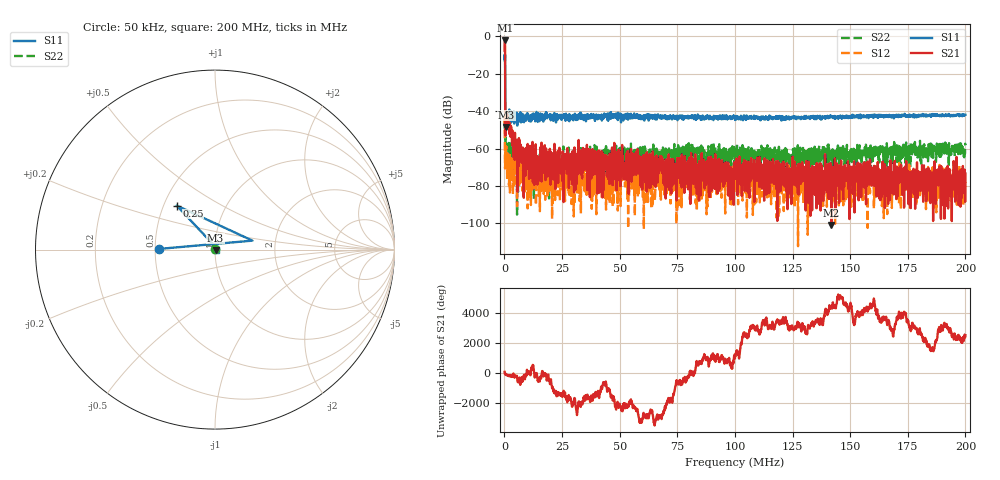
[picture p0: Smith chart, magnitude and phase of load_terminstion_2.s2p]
! 26-Feb-26 2:18:29 PM
! E:\VNA_MEASUREMENTS\HEATED_LOAD\LOAD_TERMINSTION_2.S2P
! CHANNEL.1
! TR.MEASUREMENT
! CORRECTED.DATA
# GHZ S RI R 50.0
! FREQ.GHZ  S11RE  S11IM  S21RE  S21IM  S12RE  S12IM  S22RE  S22IM
!; PortSelection: Port_12
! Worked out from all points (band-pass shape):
!   2000 points, 50 kHz to 200 MHz, reference 50 ohm
!   highest |S21| = -2.20 dB at 150 kHz (marker M1); lowest = -100.8 dB at 141.9 MHz (marker M2)
!   |S21| within 3 dB of the highest: 93.76 kHz to 254.5 kHz (160.7 kHz wide, 92.3 % of centre)
!   lowest |S11| = -48.5 dB at 850.2 kHz (marker M3), VSWR 1.01, Z = 50.3 - j0.219 ohm
!   |S11| at or under -10 dB: start of sweep to 243.5 kHz; 251 kHz to end of sweep
!   |S22| runs from -95.3 to -44.9 dB; largest |S21 - S12| = 0.78
!   S11 on the Smith chart (normalised r, x): 50 kHz: 0.53, +0.00; 250 kHz: 0.58, +0.32; 200 MHz: 1.02, +0.00
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5e-05  -0.3108 0.00381  0.1777 0.3804  0.00308 -0.00625  0.000413 0.00565
0.000150025  0.2086 0.05  0.1797 -0.7547  0.000281 0.00126  0.00304 0.000275
0.00025005  -0.2132 0.2453  0.667 -0.1669  -0.000106 0.000272  -0.000981 -0.00307
0.0008502  0.00308 -0.00217  -0.00485 -0.00346  0.000189 -0.000341  -0.000461 -0.00128
0.00145035  0.00364 -0.0026  -0.00509 -0.00275  -0.000115 -0.000135  -0.000445 0.00118
0.005451351  0.00784 -0.00109  0.000167 0.0017  2.79e-05 -5.7e-06  -7.6e-06 1.55e-05
0.0144536  0.00514 -0.000359  -0.000611 0.000104  0.000246 5.88e-05  -0.000174 -0.000111
0.01665415  0.00621 0.000747  0.000132 0.000705  0.000219 6.32e-05  0.000496 0.000345
0.02015503  0.00629 -0.000457  0.000176 -0.000546  -0.000197 -6.98e-05  4.48e-05 0.000221
0.03345835  0.0071 -3.08e-05  9.51e-05 0.000175  -0.000156 -0.000178  0.000905 -0.000118
0.04816203  0.00777 -0.000979  0.000102 -0.000106  -0.000147 -2.16e-05  0.00046 3.37e-05
0.05296323  0.0074 -0.00087  0.00024 0.000338  -0.000235 0.000112  0.000878 0.000288
0.05726431  0.00697 0.000556  0.000172 0.000371  6.34e-05 1.26e-05  0.000822 0.000356
0.06006501  0.0067 -0.000728  0.000147 -0.000546  -3.86e-05 2.11e-05  0.000135 -0.000259
0.06676668  0.0069 -0.000499  -0.000267 0.000132  -6.83e-05 0.000102  0.000748 0.00036
0.06996748  0.00748 0.000716  4.58e-05 -6.1e-06  -2.52e-05 -0.00016  0.000986 0.000149
0.07506876  0.00571 0.000361  0.000163 0.000158  0.000212 -2.78e-05  0.000821 0.000549
0.100075  0.0058 -2.05e-05  0.00011 0.000109  0.000209 -4.19e-05  0.000703 0.000643
0.1333833  0.00657 0.000163  -2.53e-05 6.99e-05  -8.29e-05 -4.26e-05  0.000325 0.000448
0.1418855  0.00706 0.000383  7.2e-06 5.6e-06  0.000145 -5.15e-05  0.0006 0.000465
0.1666917  0.00697 0.000141  3.87e-05 -0.000144  6.2e-05 0.000163  0.000566 0.000495
0.2  0.00797 0.000325  0.000212 3.98e-05  -6.58e-05 -8.68e-05  0.000713 0.00101
